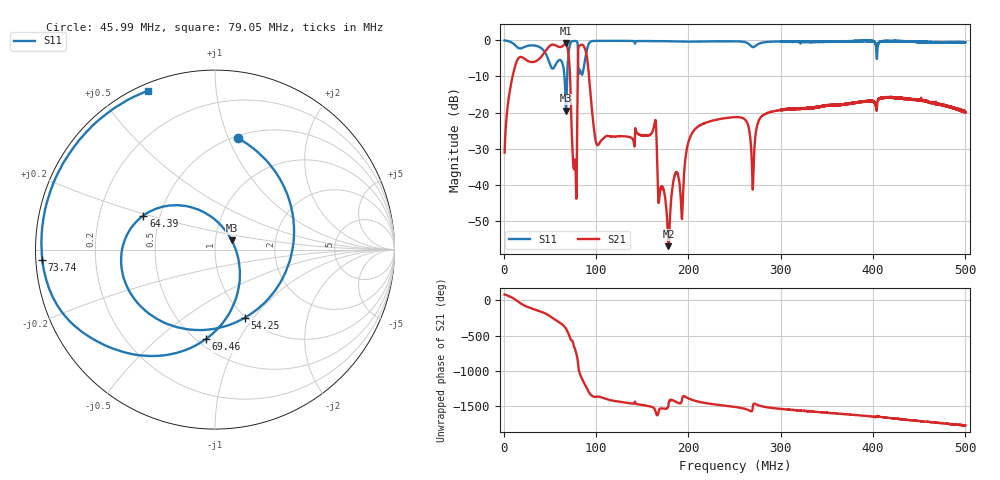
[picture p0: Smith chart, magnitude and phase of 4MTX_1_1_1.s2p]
! NanoVNA-App
! Date: 2026-08-18 20:41:54
! Start: 1MHz Stop: 500MHz Points: 6401
! S-Parameter data: F S11 S21 S12 S22
# Hz S RI R 50
!  Frequency  S11_Real  S11_Imag  S21_Real  S21_Imag  S12_Real  S12_Imag  S22_Real  S22_Imag
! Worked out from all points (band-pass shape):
!   6401 points, 1 MHz to 500 MHz, reference 50 ohm
!   highest |S21| = -0.87 dB at 67.27 MHz (marker M1); lowest = -56.8 dB at 178.5 MHz (marker M2)
!   |S21| within 3 dB of the highest: 42.91 MHz to 70.11 MHz (27.2 MHz wide, 48.1 % of centre); 80.54 MHz to 89.63 MHz (9.086 MHz wide, 10.7 % of centre)
!   lowest |S11| = -19.4 dB at 67.51 MHz (marker M3), VSWR 1.24, Z = 60 + j6.17 ohm
!   |S11| at or under -10 dB: 65.83 MHz to 68.69 MHz (2.863 MHz wide, 4.26 % of centre)
!   S12 and S22 are empty: the file has one direction only
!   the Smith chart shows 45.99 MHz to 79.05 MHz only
!   S11 on the Smith chart (normalised r, x): 45.99 MHz: 0.52, +1.08; 54.25 MHz: 0.99, -0.91; 64.39 MHz: 0.40, +0.19; 69.46 MHz: 0.55, -0.74; 73.74 MHz: 0.02, -0.03; 79.05 MHz: 0.03, +0.66
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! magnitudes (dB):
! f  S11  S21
! 1 MHz  -0.1  -31.0
! 14.49 MHz  -1.9  -5.6
! 45.99 MHz  -4.0  -2.8
! 54.25 MHz  -7.6  -1.3
! 64.39 MHz  -7.1  -1.5
! 67.27 MHz  -18.5  -0.9
! 67.51 MHz  -19.4  -0.9
! 69.46 MHz  -6.0  -2.6
! 73.74 MHz  -0.3  -25.8
! 76.86 MHz  -0.2  -34.6
! 79.05 MHz  -0.4  -39.4
! 84.19 MHz  -9.4  -1.3
! 101.1 MHz  -0.2  -28.9
! 162.9 MHz  -0.3  -23.7
! 167.4 MHz  -0.3  -43.4
! 178.5 MHz  -0.3  -56.8
! 204.7 MHz  -0.4  -25.4
! 250.5 MHz  -0.3  -21.2
! 269.8 MHz  -1.9  -41.2
! 333.7 MHz  -0.4  -18.6
! 416.9 MHz  -0.2  -15.7
! 500 MHz  -0.6  -19.9
